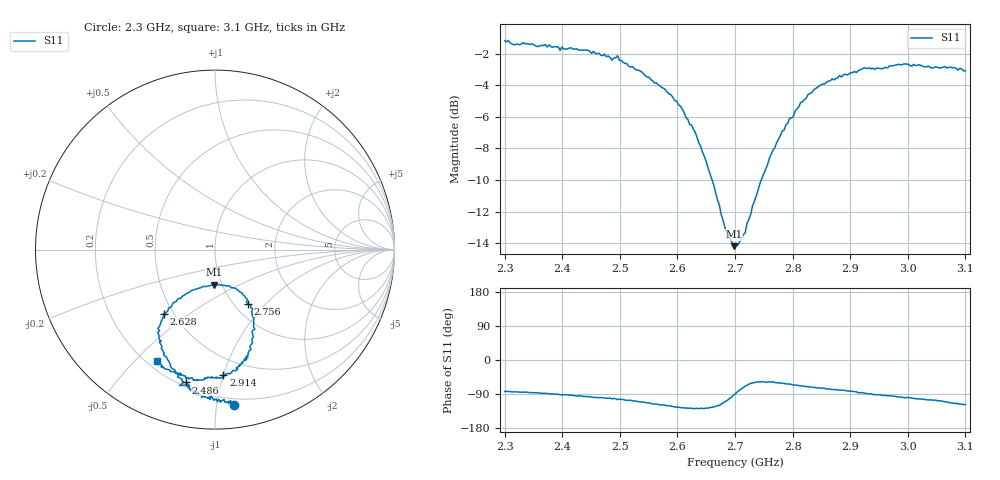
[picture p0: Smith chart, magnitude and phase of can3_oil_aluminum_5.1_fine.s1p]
# MHz S MA R 50
!  freq  S11
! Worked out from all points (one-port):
!   250 points, 2.3 GHz to 3.1 GHz, reference 50 ohm
!   lowest |S11| = -14.2 dB at 2.698 GHz (marker M1), VSWR 1.49, Z = 45.9 - j18.6 ohm
!   |S11| at or under -10 dB: 2.66 GHz to 2.746 GHz (85.29 MHz wide, 3.16 % of centre)
!   S11 on the Smith chart (normalised r, x): 2.3 GHz: 0.15, -1.12; 2.486 GHz: 0.22, -0.78; 2.628 GHz: 0.44, -0.40; 2.756 GHz: 1.16, -0.80; 2.914 GHz: 0.36, -1.00; 3.1 GHz: 0.24, -0.58
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2300  0.8742 -83.1
2402.811  0.8217 -91.4
2444.578  0.8153 -97.1
2473.494  0.7923 -100.2
2486.345  0.7577 -102.4
2492.771  0.7715 -102.2
2495.984  0.783 -104.6
2502.41  0.757 -104.0
2557.028  0.6525 -116.0
2602.008  0.5474 -124.3
2627.711  0.4581 -128.6
2669.478  0.2738 -120.6
2685.542  0.2152 -107.9
2698.394  0.1952 -91.5
2701.606  0.1979 -87.6
2717.671  0.215 -69.2
2736.948  0.2818 -58.0
2756.225  0.3525 -58.6
2765.863  0.3929 -57.5
2801.205  0.5026 -65.7
2842.972  0.6216 -74.0
2852.61  0.6375 -74.0
2900.803  0.6926 -82.4
2913.655  0.701 -86.2
2993.976  0.7377 -99.5
3000.402  0.7368 -98.9
3064.659  0.7242 -110.0
3100  0.7015 -117.7
